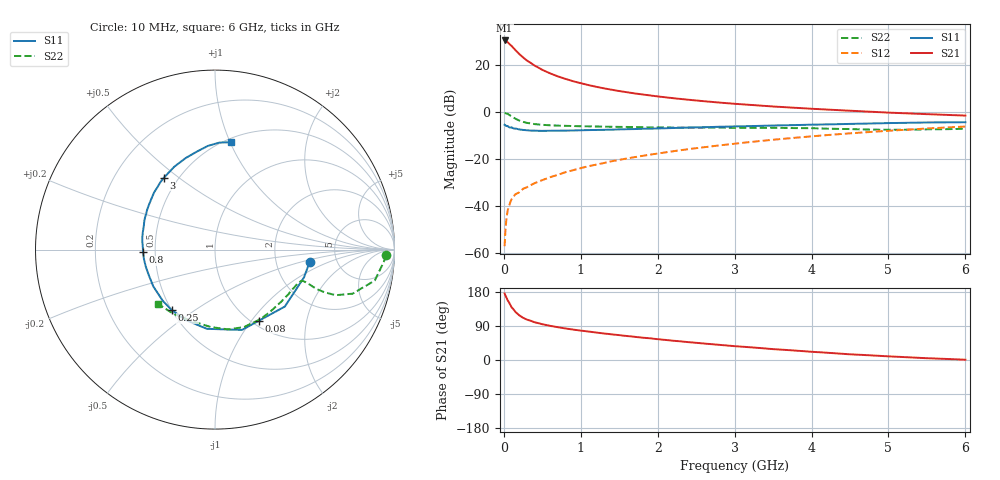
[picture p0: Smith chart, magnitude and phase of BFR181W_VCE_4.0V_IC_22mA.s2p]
! Infineon Technologies  Discrete & RF Semiconductors
! BFR181W
! VCE =  4.0 V,  IC =  22 mA
! Common Emitter S-Parameters:  Jan 2017
# GHz  S  MA  R  50
!  f  S11  S21  S12  S22
! GHz  MAG  ANG  MAG  ANG  MAG  ANG  MAG  ANG
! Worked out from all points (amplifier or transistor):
!   77 points, 10 MHz to 6 GHz, reference 50 ohm
!   highest |S21| = 30.4 dB at 10 MHz (marker M1)
!   |S21| within 3 dB of that: start of sweep to 119.5 MHz
!   unconditionally stable (mu >= 1): 469.7 MHz to 2.517 GHz
!   at 130 MHz: K = 0.49, MSG = 31.4 dB, |S12| = -35.8 dB
!   at 2.2 GHz: K = 1.04, MAG = 10.0 dB, |S12| = -16.7 dB
!   at 6 GHz: K = 0.86, MSG = 2.3 dB, |S12| = -6.2 dB
!   S11 on the Smith chart (normalised r, x): 10 MHz: 3.16, -0.59; 80 MHz: 1.08, -1.09; 250 MHz: 0.50, -0.41; 800 MHz: 0.43, -0.01; 3 GHz: 0.42, +0.44; 6 GHz: 0.53, +1.00
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0.01  0.5323 -7.2  33.03 175.7  0.0014 75.5  0.9536 -1.9
0.02  0.5196 -17.3  32.36 170.4  0.0029 90.8  0.9426 -4.2
0.05  0.502 -39.2  30.38 157.3  0.008 75.4  0.9069 -10.9
0.08  0.4657 -58.1  27 147.2  0.0115 68.7  0.8441 -14.8
0.1  0.4722 -71.4  25.31 139.2  0.0139 66.2  0.8048 -17.8
0.15  0.4437 -95.9  20.69 126.9  0.0178 62.4  0.7172 -20.7
0.2  0.4247 -112.5  17.05 117.9  0.0195 61.5  0.6549 -21.3
0.25  0.4139 -125.8  14.41 111.5  0.0232 60.2  0.6145 -21.2
0.3  0.4074 -135.6  12.37 106.6  0.0251 61.4  0.5847 -20.8
0.4  0.4003 -149.2  9.649 99.5  0.0305 65.1  0.5508 -20.0
0.5  0.3955 -159.1  7.836 94.4  0.0355 65.8  0.5319 -19.7
0.6  0.3972 -166.4  6.613 90.2  0.0409 68.6  0.5197 -19.7
0.7  0.3994 -172.4  5.711 86.6  0.0459 71.3  0.5117 -20.0
0.8  0.4009 -177.9  5.038 83.3  0.0523 72.7  0.5059 -20.8
1.1  0.4109 170.1  3.72 75.1  0.0701 75.1  0.4933 -23.8
1.5  0.4252 157.9  2.777 65.6  0.0956 76.4  0.4806 -29.3
2.1  0.4498 143.1  2.046 53.0  0.138 75.6  0.4668 -40.3
3  0.4916 125.3  1.489 36.5  0.2109 70.9  0.4606 -59.3
3.1  0.4951 123.4  1.45 35.1  0.2198 70.1  0.4595 -61.3
4.1  0.5389 106.2  1.145 20.5  0.3119 61.5  0.4457 -82.8
5.1  0.5818 92.7  0.952 8.7  0.4064 51.0  0.418 -110.9
6  0.6045 81.7  0.835 0.8  0.4888 40.4  0.4391 -136.5
